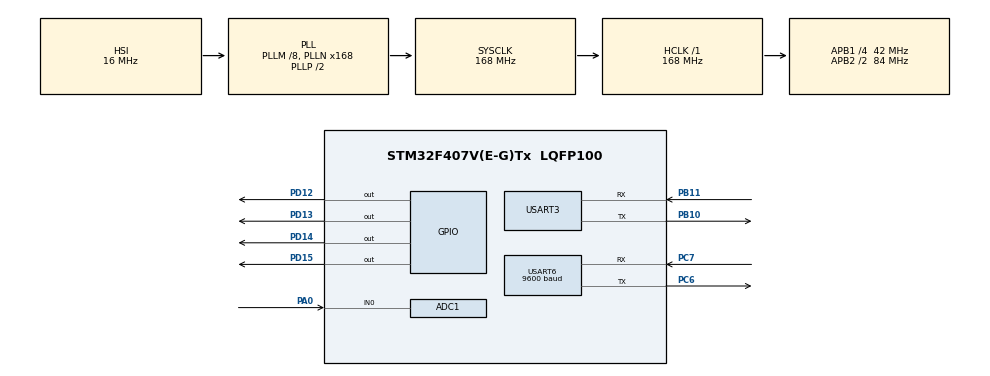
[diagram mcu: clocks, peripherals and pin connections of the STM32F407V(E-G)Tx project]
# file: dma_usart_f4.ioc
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ADC1.Channel-1\#ChannelRegularConversion=ADC_CHANNEL_0
ADC1.ContinuousConvMode=ENABLE
ADC1.NbrOfConversion=1
ADC1.NbrOfConversionFlag=1
ADC1.Rank-1\#ChannelRegularConversion=1
ADC1.SamplingTime-1\#ChannelRegularConversion=ADC_SAMPLETIME_3CYCLES
ADC1.ScanConvMode=ENABLE
ADC1.master=1
Dma.Request0=USART3_RX
Dma.USART3_RX.0.Direction=DMA_PERIPH_TO_MEMORY
Dma.USART3_RX.0.FIFOMode=DMA_FIFOMODE_DISABLE
Dma.USART3_RX.0.Instance=DMA1_Stream1
Dma.USART3_RX.0.MemDataAlignment=DMA_MDATAALIGN_BYTE
Dma.USART3_RX.0.MemInc=DMA_MINC_ENABLE
Dma.USART3_RX.0.Mode=DMA_CIRCULAR
Dma.USART3_RX.0.PeriphDataAlignment=DMA_PDATAALIGN_BYTE
Dma.USART3_RX.0.PeriphInc=DMA_PINC_DISABLE
Dma.USART3_RX.0.Priority=DMA_PRIORITY_VERY_HIGH
Mcu.Family=STM32F4
Mcu.Name=STM32F407V(E-G)Tx
Mcu.Package=LQFP100
NVIC.DMA1_Stream1_IRQn=true\:0\:0\:false\:false\:true\:false\:true
NVIC.PriorityGroup=NVIC_PRIORITYGROUP_4
NVIC.USART3_IRQn=true\:0\:0\:false\:false\:true\:true\:true
PA0-WKUP.Signal=ADCx_IN0
PA13.Mode=Serial_Wire
PA13.Signal=SYS_JTMS-SWDIO
PA14.Mode=Serial_Wire
PA14.Signal=SYS_JTCK-SWCLK
PB10.Mode=Asynchronous
PB10.Signal=USART3_TX
PB11.Mode=Asynchronous
PB11.Signal=USART3_RX
PC6.Mode=Asynchronous
PC6.Signal=USART6_TX
PC7.Mode=Asynchronous
PC7.Signal=USART6_RX
PD12.Signal=GPIO_Output
PD13.Signal=GPIO_Output
PD14.Signal=GPIO_Output
PD15.Signal=GPIO_Output
PH0-OSC_IN.Mode=HSE-External-Oscillator
PH0-OSC_IN.Signal=RCC_OSC_IN
PH1-OSC_OUT.Mode=HSE-External-Oscillator
PH1-OSC_OUT.Signal=RCC_OSC_OUT
ProjectManager.HeapSize=0x200
ProjectManager.StackSize=0x400
ProjectManager.TargetToolchain=MDK-ARM V5.27
RCC.48MHZClocksFreq_Value=84000000
RCC.AHBFreq_Value=168000000
RCC.APB1CLKDivider=RCC_HCLK_DIV4
RCC.APB1Freq_Value=42000000
RCC.APB1TimFreq_Value=84000000
RCC.APB2CLKDivider=RCC_HCLK_DIV2
RCC.APB2Freq_Value=84000000
RCC.APB2TimFreq_Value=168000000
RCC.CortexFreq_Value=168000000
RCC.HCLKFreq_Value=168000000
RCC.HSE_VALUE=25000000
RCC.HSI_VALUE=16000000
RCC.LSE_VALUE=32768
RCC.PLLM=8
RCC.PLLN=168
RCC.SYSCLKFreq_VALUE=168000000
RCC.SYSCLKSource=RCC_SYSCLKSOURCE_PLLCLK
RCC.VCOOutputFreq_Value=336000000
SH.ADCx_IN0.0=ADC1_IN0,IN0
USART3.VirtualMode=VM_ASYNC
USART6.BaudRate=9600
USART6.VirtualMode=VM_ASYNC
board=custom

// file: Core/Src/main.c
/* USER CODE BEGIN Header */
/**
  ******************************************************************************
  * @file           : main.c
  * @brief          : Main program body
  ******************************************************************************
  * @attention
  *
  * <h2><center>&copy; Copyright (c) 2021 STMicroelectronics.
  * All rights reserved.</center></h2>
  *
  * This software component is licensed by ST under BSD 3-Clause license,
  * the "License"; You may not use this file except in compliance with the
  * License. You may obtain a copy of the License at:
  *                        opensource.org/licenses/BSD-3-Clause
  *
  ******************************************************************************
  */
/* USER CODE END Header */
#include "main.h"
#include "adc.h"
#include "dma.h"
#include "usart.h"
#include "gpio.h"

/* USER CODE BEGIN Includes */
#include "serial_gui.h"
#include "stdio.h"
/* USER CODE END Includes */

void SystemClock_Config(void);

/* USER CODE BEGIN 0 */
#define rx_buffer_size 14

	int kk=0;
	int jj=0;
	volatile char newBuffer[50];
  volatile char rx_buffer[rx_buffer_size];
	int numDetec = 0;
	int ll=0;

	char packet[50];

	// A mod mesaj hazirlama
	char messagges[10][100] = {"Model: Arm Cortex-M4","Version: stm32f767ZI"};

	// C komutu icin senaryo
	float P     = 1;
	float Vrms  = 2;
	float Irms  = 3;
	float pf    = 4;
	float f     = 5;
	float dcCur = 6;
	float dcVol = 7;

	// B komutu icin senaryo
	float power    = 0;
	float voltage  = 0;
	float current  = 0;
	float resistor = 0;

	float value    = 100;

	void HAL_UART_RxCpltCallback(UART_HandleTypeDef *huart)
{

		for(int i=0;i<50;i++)
		{
			if(rx_buffer[i] == 'B')
			{
				jj = i;
				break;
			}
		}

		ll = 8+10*charToint(rx_buffer[2+jj])+charToint(rx_buffer[3+jj]);

		for(int i=0;i<50;i++)
		{
			newBuffer[i] = rx_buffer[i+jj];
			if(i==ll || i>=ll)
				newBuffer[i] = 0;
		}

}

//void HAL_UART_TxCpltCallback(UART_HandleTypeDef *huart)
//{
//
//
//}

int ax = 0;
int ay = 0;

uint8_t Cmd_End[3] = {0xFF,0xFF,0xFF};  // command end sequence
void NEXTION_SendString (char *ID, char *string)
{
	char buf[50];
	int len = sprintf (buf, "%s.txt=\"%s\"", ID, string);
	HAL_UART_Transmit(&huart6, (uint8_t *)buf, len, 1000);
	HAL_UART_Transmit(&huart6, Cmd_End, 3, 1000);
}

char buf2[50];
/* USER CODE END 0 */

int main(void)
{

  /* MCU Configuration--------------------------------------------------------*/

  /* Reset of all peripherals, Initializes the Flash interface and the Systick. */
  HAL_Init();

  /* Configure the system clock */
  SystemClock_Config();

  /* Initialize all configured peripherals */
  MX_GPIO_Init();
  MX_DMA_Init();
  MX_USART3_UART_Init();
  MX_ADC1_Init();
  MX_USART6_UART_Init();
  /* USER CODE BEGIN 2 */
	HAL_UART_Receive_DMA(&huart3, (uint8_t *)rx_buffer, rx_buffer_size);
  /* USER CODE END 2 */

  /* Infinite loop */
  /* USER CODE BEGIN WHILE */
  while (1)
  {

		// A
		if(rx_buffer[0] == 'A')
		{
			sendmodA_Packets(&huart3,2,messagges);
			rx_buffer[0] = '!';
		}
		// B
		if(newBuffer[0]=='B')
		{
			power    = power    + 1;
			current  = current  + 2;
			voltage  = voltage  + 3;

			if(power== 30000)
			{
				current  = 0;
				voltage  = 0;
				resistor = 0;
			}

			HAL_GPIO_TogglePin(GPIOD,GPIO_PIN_15);

			receiveAsciiPackets(newBuffer,packet);

			value = stringTofloat(packet);
			sprintf (buf2, "%.1f",value);
			NEXTION_SendString("t0", "GUI VALUE");
	    NEXTION_SendString("t1", buf2);

			sendmodB_Packets(&huart3,power,voltage,current,resistor);

			newBuffer[0]='!';
		}
		// C
		if(rx_buffer[0] == 'C')
		{
			/*P     = P     + 1;
			Vrms  = Vrms  + 1;
			Irms  = Irms  + 1;
			pf    = pf    + 1;
			f     = f     + 1;
			dcCur = dcCur + 1;
			dcVol = dcVol + 1;	*/

			if(P== 1000)
			{
				P     = 1 ;
				Vrms  = 2 ;
				Irms  = 3 ;
				pf    = 4 ;
				f     = 5 ;
				dcCur = 6 ;
				dcVol =	7 ;
			}

			sendmodC_Packets(&huart3,P,Vrms,Irms,pf,f,dcCur,dcVol);
			HAL_GPIO_WritePin(GPIOB,GPIO_PIN_14,GPIO_PIN_RESET);
			rx_buffer[0] = '!';
		}

    /* USER CODE END WHILE */

  }
}

void SystemClock_Config(void)
{
  RCC_OscInitTypeDef RCC_OscInitStruct = {0};
  RCC_ClkInitTypeDef RCC_ClkInitStruct = {0};

  /** Configure the main internal regulator output voltage
  */
  __HAL_RCC_PWR_CLK_ENABLE();
  __HAL_PWR_VOLTAGESCALING_CONFIG(PWR_REGULATOR_VOLTAGE_SCALE1);
  /** Initializes the RCC Oscillators according to the specified parameters
  * in the RCC_OscInitTypeDef structure.
  */
  RCC_OscInitStruct.OscillatorType = RCC_OSCILLATORTYPE_HSI;
  RCC_OscInitStruct.HSIState = RCC_HSI_ON;
  RCC_OscInitStruct.HSICalibrationValue = RCC_HSICALIBRATION_DEFAULT;
  RCC_OscInitStruct.PLL.PLLState = RCC_PLL_ON;
  RCC_OscInitStruct.PLL.PLLSource = RCC_PLLSOURCE_HSI;
  RCC_OscInitStruct.PLL.PLLM = 8;
  RCC_OscInitStruct.PLL.PLLN = 168;
  RCC_OscInitStruct.PLL.PLLP = RCC_PLLP_DIV2;
  RCC_OscInitStruct.PLL.PLLQ = 4;
  if (HAL_RCC_OscConfig(&RCC_OscInitStruct) != HAL_OK)
  {
    Error_Handler();
  }
  /** Initializes the CPU, AHB and APB buses clocks
  */
  RCC_ClkInitStruct.ClockType = RCC_CLOCKTYPE_HCLK|RCC_CLOCKTYPE_SYSCLK
                              |RCC_CLOCKTYPE_PCLK1|RCC_CLOCKTYPE_PCLK2;
  RCC_ClkInitStruct.SYSCLKSource = RCC_SYSCLKSOURCE_PLLCLK;
  RCC_ClkInitStruct.AHBCLKDivider = RCC_SYSCLK_DIV1;
  RCC_ClkInitStruct.APB1CLKDivider = RCC_HCLK_DIV4;
  RCC_ClkInitStruct.APB2CLKDivider = RCC_HCLK_DIV2;

  if (HAL_RCC_ClockConfig(&RCC_ClkInitStruct, FLASH_LATENCY_5) != HAL_OK)
  {
    Error_Handler();
  }
}

void Error_Handler(void)
{
}

/************************ (C) COPYRIGHT STMicroelectronics *****END OF FILE****/
